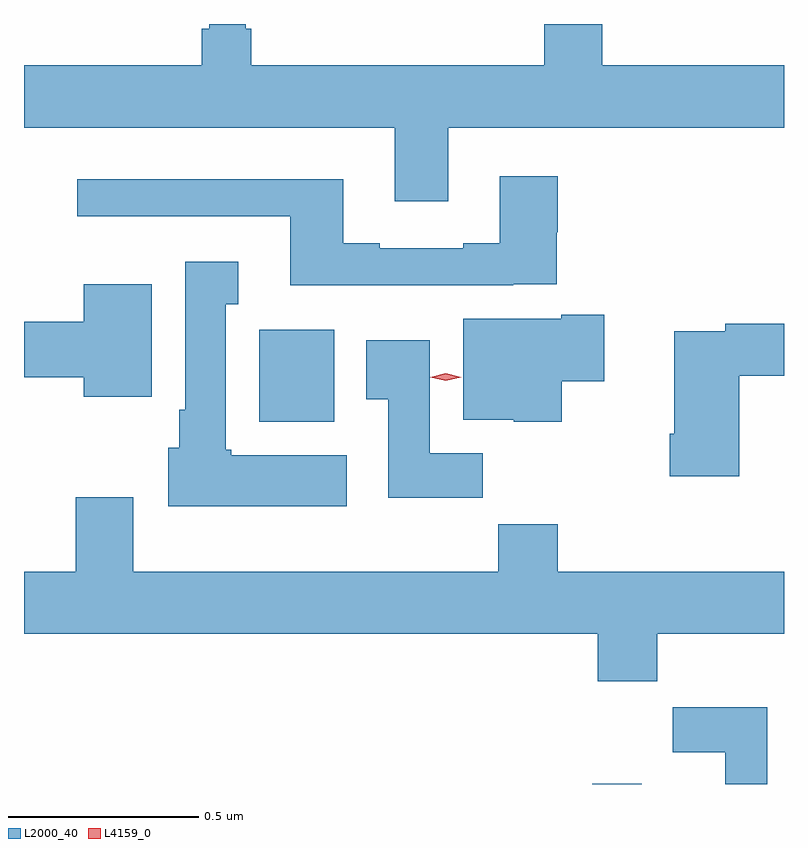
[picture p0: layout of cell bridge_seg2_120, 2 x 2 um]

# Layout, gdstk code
import gdstk
lib = gdstk.Library(unit=1e-6, precision=1e-09)
def R(c, l, rs):  # rectangles x0, y0, x1, y1
    for r in rs: c.add(gdstk.rectangle(r[:2], r[2:], *l))
def P(c, l, *ps):  # polygons
    for p in ps: c.add(gdstk.Polygon(p, *l))
L2000_40 = (2000, 40)
L4159_0 = (4159, 0)

bridge_seg2_120 = lib.new_cell('bridge_seg2_120')
R(bridge_seg2_120, L2000_40, [(495.908,629.925,496.038,629.926), (495.032,630.878,495.229,631.12)])
P(bridge_seg2_120, L2000_40, [(494.997,631.912),(494.997,631.925),(494.9,631.925),(494.9,631.912),(494.881,631.912),(494.881,631.816),(494.413,631.816),(494.413,631.652),(495.389,631.652),(495.389,631.458),(495.529,631.458),(495.529,631.652),(496.413,631.652),(496.413,631.816),(495.935,631.816),(495.935,631.925),(495.782,631.925),(495.782,631.816),(495.011,631.816),(495.011,631.912)],
  [(495.701,631.24),(495.815,631.24),(495.815,631.377),(495.818,631.377),(495.818,631.525),(495.665,631.525),(495.665,631.348),(495.569,631.348),(495.569,631.335),(495.349,631.335),(495.349,631.348),(495.253,631.348),(495.253,631.516),(494.553,631.516),(494.553,631.419),(495.113,631.419),(495.113,631.238),(495.701,631.238)],
  [(495.262,630.79),(494.958,630.79),(494.958,630.804),(494.944,630.804),(494.944,631.187),(494.977,631.187),(494.977,631.3),(494.837,631.3),(494.837,630.91),(494.822,630.91),(494.822,630.81),(494.792,630.81),(494.792,630.656),(495.262,630.656)],
  [(494.749,631.24),(494.57,631.24),(494.57,631.142),(494.413,631.142),(494.413,630.995),(494.57,630.995),(494.57,630.944),(494.749,630.944)],
  [(495.828,630.985),(495.94,630.985),(495.94,631.16),(495.827,631.16),(495.827,631.15),(495.569,631.15),(495.569,630.884),(495.702,630.884),(495.702,630.878),(495.828,630.878)],
  [(496.295,631),(496.413,631),(496.413,631.136),(496.258,631.136),(496.258,631.116),(496.124,631.116),(496.124,630.847),(496.112,630.847),(496.112,630.735),(496.295,630.735)],
  [(495.62,630.796),(495.481,630.796),(495.481,631.093),(495.314,631.093),(495.314,630.937),(495.371,630.937),(495.371,630.678),(495.62,630.678)],
  [(496.079,630.32),(496.413,630.32),(496.413,630.484),(495.818,630.484),(495.818,630.608),(495.661,630.608),(495.661,630.484),(494.701,630.484),(494.701,630.679),(494.549,630.679),(494.549,630.484),(494.413,630.484),(494.413,630.32),(495.923,630.32),(495.923,630.196),(496.079,630.196)],
  [(496.369,630.127),(496.12,630.127),(496.12,630.008),(496.259,630.008),(496.259,629.925),(496.369,629.925)])
P(bridge_seg2_120, L4159_0, [(495.523,630.986),(495.482,630.996),(495.482,630.996),(495.482,630.996),(495.523,631.006),(495.564,630.996),(495.564,630.996),(495.564,630.996)])

lib.write_gds('bridge_seg2_120.gds')
